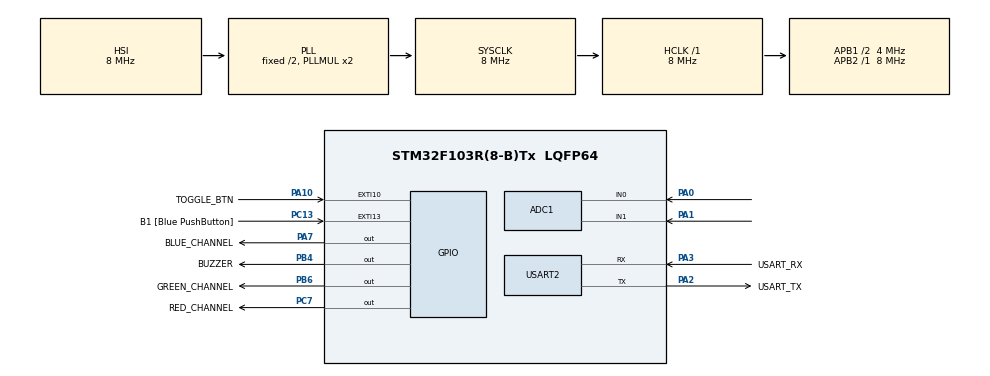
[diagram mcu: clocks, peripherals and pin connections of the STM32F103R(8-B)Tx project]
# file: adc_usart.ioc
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ADC1.Channel-2\#ChannelRegularConversion=ADC_CHANNEL_0
ADC1.Channel-3\#ChannelRegularConversion=ADC_CHANNEL_1
ADC1.NbrOfConversion=2
ADC1.NbrOfConversionFlag=1
ADC1.Rank-2\#ChannelRegularConversion=1
ADC1.Rank-3\#ChannelRegularConversion=2
ADC1.SamplingTime-2\#ChannelRegularConversion=ADC_SAMPLETIME_1CYCLE_5
ADC1.SamplingTime-3\#ChannelRegularConversion=ADC_SAMPLETIME_1CYCLE_5
ADC1.master=1
Dma.ADC1.0.Direction=DMA_PERIPH_TO_MEMORY
Dma.ADC1.0.Instance=DMA1_Channel1
Dma.ADC1.0.MemDataAlignment=DMA_MDATAALIGN_HALFWORD
Dma.ADC1.0.MemInc=DMA_MINC_ENABLE
Dma.ADC1.0.Mode=DMA_NORMAL
Dma.ADC1.0.PeriphDataAlignment=DMA_PDATAALIGN_HALFWORD
Dma.ADC1.0.PeriphInc=DMA_PINC_DISABLE
Dma.ADC1.0.Priority=DMA_PRIORITY_LOW
Dma.Request0=ADC1
Dma.Request1=USART2_TX
Dma.USART2_TX.1.Direction=DMA_MEMORY_TO_PERIPH
Dma.USART2_TX.1.Instance=DMA1_Channel7
Dma.USART2_TX.1.MemDataAlignment=DMA_MDATAALIGN_BYTE
Dma.USART2_TX.1.MemInc=DMA_MINC_ENABLE
Dma.USART2_TX.1.Mode=DMA_NORMAL
Dma.USART2_TX.1.PeriphDataAlignment=DMA_PDATAALIGN_BYTE
Dma.USART2_TX.1.PeriphInc=DMA_PINC_DISABLE
Dma.USART2_TX.1.Priority=DMA_PRIORITY_LOW
Mcu.Family=STM32F1
Mcu.Name=STM32F103R(8-B)Tx
Mcu.Package=LQFP64
NVIC.DMA1_Channel1_IRQn=true\:0\:0\:false\:false\:true\:false\:true\:true
NVIC.DMA1_Channel7_IRQn=true\:0\:0\:false\:false\:true\:false\:true\:true
NVIC.EXTI15_10_IRQn=true\:0\:0\:false\:false\:true\:true\:true\:true
NVIC.PriorityGroup=NVIC_PRIORITYGROUP_4
NVIC.USART2_IRQn=true\:0\:0\:false\:false\:true\:true\:true\:true
PA0-WKUP.Signal=ADCx_IN0
PA1.Signal=ADCx_IN1
PA10.GPIO_Label=TOGGLE_BTN
PA10.Signal=GPXTI10
PA13.GPIO_Label=TMS
PA13.Mode=Serial_Wire
PA13.Signal=SYS_JTMS-SWDIO
PA14.GPIO_Label=TCK
PA14.Mode=Serial_Wire
PA14.Signal=SYS_JTCK-SWCLK
PA2.GPIO_Label=USART_TX
PA2.GPIO_Mode=GPIO_MODE_AF_PP
PA2.GPIO_PuPd=GPIO_NOPULL
PA2.GPIO_Speed=GPIO_SPEED_FREQ_LOW
PA2.Mode=Asynchronous
PA2.Signal=USART2_TX
PA3.GPIO_Label=USART_RX
PA3.GPIO_Mode=GPIO_MODE_AF_PP
PA3.GPIO_PuPd=GPIO_NOPULL
PA3.GPIO_Speed=GPIO_SPEED_FREQ_LOW
PA3.Mode=Asynchronous
PA3.Signal=USART2_RX
PA7.GPIO_Label=BLUE_CHANNEL
PA7.Signal=GPIO_Output
PB3.GPIO_Label=SWO
PB3.Signal=SYS_JTDO-TRACESWO
PB4.GPIO_Label=BUZZER
PB4.GPIO_ModeDefaultOutputPP=GPIO_MODE_OUTPUT_OD
PB4.GPIO_PuPd=GPIO_NOPULL
PB4.PinState=GPIO_PIN_RESET
PB4.Signal=GPIO_Output
PB6.GPIO_Label=GREEN_CHANNEL
PB6.Signal=GPIO_Output
PC13-TAMPER-RTC.GPIO_Label=B1 [Blue PushButton]
PC13-TAMPER-RTC.GPIO_PuPd=GPIO_NOPULL
PC13-TAMPER-RTC.Signal=GPXTI13
PC14-OSC32_IN.Mode=LSE-External-Oscillator
PC14-OSC32_IN.Signal=RCC_OSC32_IN
PC15-OSC32_OUT.Mode=LSE-External-Oscillator
PC15-OSC32_OUT.Signal=RCC_OSC32_OUT
PC7.GPIO_Label=RED_CHANNEL
PC7.Signal=GPIO_Output
PD0-OSC_IN.Mode=HSE-External-Clock-Source
PD0-OSC_IN.Signal=RCC_OSC_IN
PD1-OSC_OUT.Mode=HSE-External-Clock-Source
PD1-OSC_OUT.Signal=RCC_OSC_OUT
ProjectManager.HeapSize=0x200
ProjectManager.StackSize=0x400
ProjectManager.TargetToolchain=MDK-ARM V5.32
RCC.AHBFreq_Value=8000000
RCC.APB1CLKDivider=RCC_HCLK_DIV2
RCC.APB1Freq_Value=4000000
RCC.APB1TimFreq_Value=8000000
RCC.APB2Freq_Value=8000000
RCC.APB2TimFreq_Value=8000000
RCC.HCLKFreq_Value=8000000
RCC.RTCClockSelection=RCC_RTCCLKSOURCE_LSE
RCC.SYSCLKFreq_VALUE=8000000
RCC.SYSCLKSource=RCC_SYSCLKSOURCE_PLLCLK
RCC.USBFreq_Value=8000000
SH.ADCx_IN0.0=ADC1_IN0,IN0
SH.ADCx_IN1.0=ADC1_IN1,IN1
USART2.VirtualMode=VM_ASYNC
board=NUCLEO-F103RB

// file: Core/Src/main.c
/* USER CODE BEGIN Header */
/**
  ******************************************************************************
  * @file           : main.c
  * @brief          : Main program body
  ******************************************************************************
  * @attention
  *
  * Copyright (c) 2025 STMicroelectronics.
  * All rights reserved.
  *
  * This software is licensed under terms that can be found in the LICENSE file
  * in the root directory of this software component.
  * If no LICENSE file comes with this software, it is provided AS-IS.
  *
  ******************************************************************************
  */
/* USER CODE END Header */
#include "main.h"
#include "adc.h"
#include "dma.h"
#include "usart.h"
#include "gpio.h"

/* USER CODE BEGIN Includes */

#include <string.h>
#include <stdio.h>

/* USER CODE END Includes */

/* USER CODE BEGIN PD */

#define KS_SET_RGB(R, G, B) \
				HAL_GPIO_WritePin(RED_CHANNEL_GPIO_Port, RED_CHANNEL_Pin, R); \
				HAL_GPIO_WritePin(GREEN_CHANNEL_GPIO_Port, GREEN_CHANNEL_Pin, G); \
				HAL_GPIO_WritePin(BLUE_CHANNEL_GPIO_Port, BLUE_CHANNEL_Pin, B) \

#define KS_SET_RGB_VEC(VEC) KS_SET_RGB(VEC[0], VEC[1], VEC[2])

/* USER CODE END PD */

/* USER CODE BEGIN PV */

volatile uint8_t flag = 0;
volatile uint8_t active_index = 0;
volatile uint16_t adc_data[2] = {0,0};

/* USER CODE END PV */

void SystemClock_Config(void);

/* USER CODE BEGIN 0 */

union Color
{
	struct
	{
			uint8_t r;
			uint8_t g;
			uint8_t b;
	} ch;
	uint8_t rgb[3];
};

const union Color COLORS[8] = {
    { .ch = {0, 0, 0} },   // BLACK 0
    { .ch = {1, 0, 0} },   // RED 1
    { .ch = {0, 1, 0} },   // GREEN 2
		{ .ch = {1, 1, 0} },   // YELLOW 3
    { .ch = {0, 0, 1} },   // BLUE 4
    { .ch = {1, 0, 1} },   // PURPLE 5
    { .ch = {0, 1, 1} },   // LIGHT BLUE 6
    { .ch = {1, 1, 1} }    // WHITE 7
};

const uint32_t STEP = 512u;

void SwapActiveADC()
{
	active_index = (active_index + 1) % 2;
}

void AdcDataReset()
{
	adc_data[0] = 0u;
  adc_data[1] = 0u;

	HAL_ADC_Start_DMA(&hadc1, (uint32_t*)&adc_data, 2);
}

/* USER CODE END 0 */

int main(void)
{

  /* MCU Configuration--------------------------------------------------------*/

  /* Reset of all peripherals, Initializes the Flash interface and the Systick. */
  HAL_Init();

  /* Configure the system clock */
  SystemClock_Config();

  /* Initialize all configured peripherals */
  MX_GPIO_Init();
  MX_DMA_Init();
  MX_ADC1_Init();
  MX_USART2_UART_Init();
  /* USER CODE BEGIN 2 */

	HAL_ADCEx_Calibration_Start(&hadc1);
	HAL_ADC_Start_DMA(&hadc1, (uint32_t*)&adc_data, 2);

	char data_msg[10];

  /* USER CODE END 2 */

  /* Infinite loop */
  /* USER CODE BEGIN WHILE */
  while (1)
  {
		if(flag)
		{
				flag = 0;

				HAL_ADC_Stop_DMA(&hadc1);

				uint16_t data = adc_data[active_index];
				KS_SET_RGB_VEC(COLORS[data / STEP].rgb);

				sprintf(data_msg, "%hu\r\n", data);
				HAL_UART_Transmit_DMA(&huart2, (uint8_t*)data_msg, strlen(data_msg));

		}
    /* USER CODE END WHILE */

  }
}

void SystemClock_Config(void)
{
  RCC_OscInitTypeDef RCC_OscInitStruct = {0};
  RCC_ClkInitTypeDef RCC_ClkInitStruct = {0};
  RCC_PeriphCLKInitTypeDef PeriphClkInit = {0};

  /** Initializes the RCC Oscillators according to the specified parameters
  * in the RCC_OscInitTypeDef structure.
  */
  RCC_OscInitStruct.OscillatorType = RCC_OSCILLATORTYPE_HSI;
  RCC_OscInitStruct.HSIState = RCC_HSI_ON;
  RCC_OscInitStruct.HSICalibrationValue = RCC_HSICALIBRATION_DEFAULT;
  RCC_OscInitStruct.PLL.PLLState = RCC_PLL_ON;
  RCC_OscInitStruct.PLL.PLLSource = RCC_PLLSOURCE_HSI_DIV2;
  RCC_OscInitStruct.PLL.PLLMUL = RCC_PLL_MUL2;
  if (HAL_RCC_OscConfig(&RCC_OscInitStruct) != HAL_OK)
  {
    Error_Handler();
  }

  /** Initializes the CPU, AHB and APB buses clocks
  */
  RCC_ClkInitStruct.ClockType = RCC_CLOCKTYPE_HCLK|RCC_CLOCKTYPE_SYSCLK
                              |RCC_CLOCKTYPE_PCLK1|RCC_CLOCKTYPE_PCLK2;
  RCC_ClkInitStruct.SYSCLKSource = RCC_SYSCLKSOURCE_PLLCLK;
  RCC_ClkInitStruct.AHBCLKDivider = RCC_SYSCLK_DIV1;
  RCC_ClkInitStruct.APB1CLKDivider = RCC_HCLK_DIV2;
  RCC_ClkInitStruct.APB2CLKDivider = RCC_HCLK_DIV1;

  if (HAL_RCC_ClockConfig(&RCC_ClkInitStruct, FLASH_LATENCY_0) != HAL_OK)
  {
    Error_Handler();
  }
  PeriphClkInit.PeriphClockSelection = RCC_PERIPHCLK_ADC;
  PeriphClkInit.AdcClockSelection = RCC_ADCPCLK2_DIV2;
  if (HAL_RCCEx_PeriphCLKConfig(&PeriphClkInit) != HAL_OK)
  {
    Error_Handler();
  }
}

void Error_Handler(void)
{
  __disable_irq();
  while (1)
  {
  }
}
